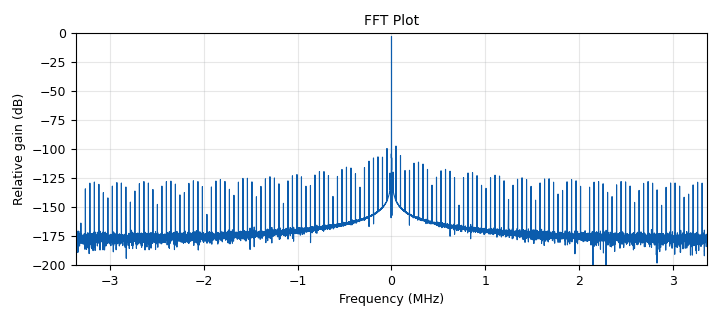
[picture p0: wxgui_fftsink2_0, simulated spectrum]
<?xml version='1.0' encoding='utf-8'?>
<?grc format='1' created='3.7.10'?>
<flow_graph>
<block>
<key>options</key>
<param><key>id</key><value>limeTX1</value></param>
<param><key>category</key><value>Custom</value></param>
<param><key>generate_options</key><value>wx_gui</value></param>
</block>
<block>
<key>variable_slider</key>
<param><key>id</key><value>bbgain</value></param>
<param><key>converver</key><value>float_converter</value></param>
<param><key>value</key><value>0</value></param>
<param><key>label</key><value>bbgain</value></param>
<param><key>max</key><value>20</value></param>
<param><key>min</key><value>0</value></param>
<param><key>num_steps</key><value>20</value></param>
<param><key>style</key><value>wx.SL_HORIZONTAL</value></param>
</block>
<block>
<key>variable_slider</key>
<param><key>id</key><value>frequency</value></param>
<param><key>converver</key><value>float_converter</value></param>
<param><key>value</key><value>144300000</value></param>
<param><key>label</key><value>frequency</value></param>
<param><key>max</key><value>5000000000</value></param>
<param><key>min</key><value>1000000</value></param>
<param><key>num_steps</key><value>1000</value></param>
<param><key>style</key><value>wx.SL_HORIZONTAL</value></param>
</block>
<block>
<key>variable_slider</key>
<param><key>id</key><value>ifgain</value></param>
<param><key>converver</key><value>float_converter</value></param>
<param><key>value</key><value>0</value></param>
<param><key>label</key><value>ifgain</value></param>
<param><key>max</key><value>20</value></param>
<param><key>min</key><value>0</value></param>
<param><key>num_steps</key><value>20</value></param>
<param><key>style</key><value>wx.SL_HORIZONTAL</value></param>
</block>
<block>
<key>variable</key>
<param><key>id</key><value>output_rate</value></param>
<param><key>value</key><value>samp_rate*140</value></param>
</block>
<block>
<key>variable_slider</key>
<param><key>id</key><value>rfgain</value></param>
<param><key>converver</key><value>float_converter</value></param>
<param><key>value</key><value>1</value></param>
<param><key>label</key><value>rfgain</value></param>
<param><key>max</key><value>20</value></param>
<param><key>min</key><value>0</value></param>
<param><key>num_steps</key><value>20</value></param>
<param><key>style</key><value>wx.SL_HORIZONTAL</value></param>
</block>
<block>
<key>variable</key>
<param><key>id</key><value>samp_rate</value></param>
<param><key>value</key><value>48000</value></param>
</block>
<block>
<key>analog_sig_source_x</key>
<param><key>id</key><value>analog_sig_source_x_0</value></param>
<param><key>amp</key><value>1</value></param>
<param><key>freq</key><value>1000</value></param>
<param><key>offset</key><value>0</value></param>
<param><key>type</key><value>complex</value></param>
<param><key>samp_rate</key><value>samp_rate</value></param>
<param><key>waveform</key><value>analog.GR_SIN_WAVE</value></param>
</block>
<block>
<key>blocks_throttle</key>
<param><key>id</key><value>blocks_throttle_1</value></param>
<param><key>samples_per_second</key><value>samp_rate</value></param>
<param><key>type</key><value>complex</value></param>
</block>
<block>
<key>low_pass_filter</key>
<param><key>id</key><value>low_pass_filter_0</value></param>
<param><key>cutoff_freq</key><value>200000</value></param>
<param><key>decim</key><value>1</value></param>
<param><key>_enabled</key><value>2</value></param>
<param><key>type</key><value>fir_filter_ccf</value></param>
<param><key>gain</key><value>1</value></param>
<param><key>samp_rate</key><value>output_rate</value></param>
<param><key>width</key><value>output_rate/1000</value></param>
<param><key>win</key><value>firdes.WIN_HAMMING</value></param>
</block>
<block>
<key>osmosdr_sink</key>
<param><key>id</key><value>osmosdr_sink_0_0</value></param>
<param><key>ant0</key><value>BAND1</value></param>
<param><key>bb_gain0</key><value>bbgain</value></param>
<param><key>bw0</key><value>5242880</value></param>
<param><key>freq0</key><value>frequency</value></param>
<param><key>if_gain0</key><value>ifgain</value></param>
<param><key>gain0</key><value>rfgain</value></param>
<param><key>args</key><value></value></param>
<param><key>type</key><value>fc32</value></param>
<param><key>sample_rate</key><value>output_rate</value></param>
<param><key>sync</key><value></value></param>
</block>
<block>
<key>rational_resampler_xxx</key>
<param><key>id</key><value>rational_resampler_xxx_0</value></param>
<param><key>decim</key><value>1</value></param>
<param><key>interp</key><value>output_rate/samp_rate</value></param>
<param><key>taps</key><value></value></param>
<param><key>type</key><value>ccf</value></param>
</block>
<block>
<key>wxgui_fftsink2</key>
<param><key>id</key><value>wxgui_fftsink2_0</value></param>
<param><key>avg_alpha</key><value>0</value></param>
<param><key>average</key><value>False</value></param>
<param><key>baseband_freq</key><value>0</value></param>
<param><key>fft_size</key><value>32768</value></param>
<param><key>freqvar</key><value>None</value></param>
<param><key>peak_hold</key><value>False</value></param>
<param><key>ref_level</key><value>0</value></param>
<param><key>ref_scale</key><value>2.0</value></param>
<param><key>fft_rate</key><value>15</value></param>
<param><key>samp_rate</key><value>output_rate</value></param>
<param><key>title</key><value>FFT Plot</value></param>
<param><key>type</key><value>complex</value></param>
<param><key>win</key><value>None</value></param>
<param><key>y_divs</key><value>10</value></param>
<param><key>y_per_div</key><value>20</value></param>
</block>
<block>
<key>wxgui_waterfallsink2</key>
<param><key>id</key><value>wxgui_waterfallsink2_0</value></param>
<param><key>avg_alpha</key><value>0</value></param>
<param><key>average</key><value>False</value></param>
<param><key>baseband_freq</key><value>0</value></param>
<param><key>dynamic_range</key><value>140</value></param>
<param><key>_enabled</key><value>0</value></param>
<param><key>fft_rate</key><value>15</value></param>
<param><key>fft_size</key><value>1024</value></param>
<param><key>freqvar</key><value>None</value></param>
<param><key>ref_scale</key><value>2.0</value></param>
<param><key>ref_level</key><value>-80</value></param>
<param><key>samp_rate</key><value>output_rate</value></param>
<param><key>title</key><value>Waterfall Plot</value></param>
<param><key>type</key><value>complex</value></param>
<param><key>win</key><value>None</value></param>
</block>
<connection><source_block_id>analog_sig_source_x_0</source_block_id><sink_block_id>blocks_throttle_1</sink_block_id><source_key>0</source_key><sink_key>0</sink_key></connection>
<connection><source_block_id>blocks_throttle_1</source_block_id><sink_block_id>rational_resampler_xxx_0</sink_block_id><source_key>0</source_key><sink_key>0</sink_key></connection>
<connection><source_block_id>low_pass_filter_0</source_block_id><sink_block_id>osmosdr_sink_0_0</sink_block_id><source_key>0</source_key><sink_key>0</sink_key></connection>
<connection><source_block_id>low_pass_filter_0</source_block_id><sink_block_id>wxgui_fftsink2_0</sink_block_id><source_key>0</source_key><sink_key>0</sink_key></connection>
<connection><source_block_id>low_pass_filter_0</source_block_id><sink_block_id>wxgui_waterfallsink2_0</sink_block_id><source_key>0</source_key><sink_key>0</sink_key></connection>
<connection><source_block_id>rational_resampler_xxx_0</source_block_id><sink_block_id>low_pass_filter_0</sink_block_id><source_key>0</source_key><sink_key>0</sink_key></connection>
</flow_graph>
